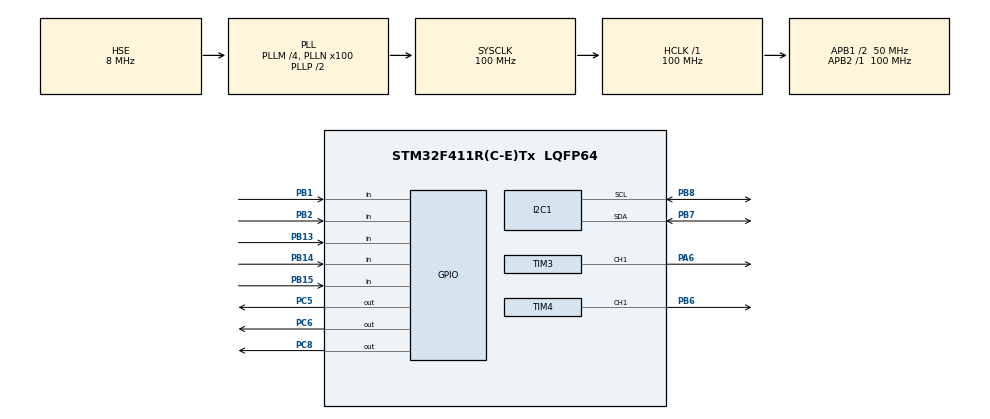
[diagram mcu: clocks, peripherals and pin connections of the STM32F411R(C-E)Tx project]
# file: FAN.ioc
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Mcu.Family=STM32F4
Mcu.Name=STM32F411R(C-E)Tx
Mcu.Package=LQFP64
NVIC.PriorityGroup=NVIC_PRIORITYGROUP_4
PA13.Mode=Serial_Wire
PA13.Signal=SYS_JTMS-SWDIO
PA14.Mode=Serial_Wire
PA14.Signal=SYS_JTCK-SWCLK
PA6.Signal=S_TIM3_CH1
PB1.Signal=GPIO_Input
PB13.Signal=GPIO_Input
PB14.Signal=GPIO_Input
PB15.Signal=GPIO_Input
PB2.Signal=GPIO_Input
PB6.Signal=S_TIM4_CH1
PB7.Mode=I2C
PB7.Signal=I2C1_SDA
PB8.Mode=I2C
PB8.Signal=I2C1_SCL
PC5.Signal=GPIO_Output
PC6.Signal=GPIO_Output
PC8.Signal=GPIO_Output
PH0\ -\ OSC_IN.Mode=HSE-External-Oscillator
PH0\ -\ OSC_IN.Signal=RCC_OSC_IN
PH1\ -\ OSC_OUT.Mode=HSE-External-Oscillator
PH1\ -\ OSC_OUT.Signal=RCC_OSC_OUT
ProjectManager.HeapSize=0x200
ProjectManager.StackSize=0x400
ProjectManager.TargetToolchain=STM32CubeIDE
RCC.48MHZClocksFreq_Value=50000000
RCC.AHBFreq_Value=100000000
RCC.APB1CLKDivider=RCC_HCLK_DIV2
RCC.APB1Freq_Value=50000000
RCC.APB1TimFreq_Value=100000000
RCC.APB2Freq_Value=100000000
RCC.APB2TimFreq_Value=100000000
RCC.CortexFreq_Value=100000000
RCC.HCLKFreq_Value=100000000
RCC.HSE_VALUE=8000000
RCC.HSI_VALUE=16000000
RCC.LSE_VALUE=32768
RCC.PLLM=4
RCC.PLLN=100
RCC.PLLSourceVirtual=RCC_PLLSOURCE_HSE
RCC.SYSCLKFreq_VALUE=100000000
RCC.SYSCLKSource=RCC_SYSCLKSOURCE_PLLCLK
RCC.VCOOutputFreq_Value=200000000
RTC.Date=27
RTC.Hours=15
RTC.Minutes=55
RTC.Month=RTC_MONTH_SEPTEMBER
RTC.SynchPrediv=249
RTC.WeekDay=RTC_WEEKDAY_WEDNESDAY
RTC.Year=23
SH.S_TIM3_CH1.0=TIM3_CH1,PWM Generation1 CH1
SH.S_TIM4_CH1.0=TIM4_CH1,PWM Generation1 CH1
TIM3.Channel-PWM\ Generation1\ CH1=TIM_CHANNEL_1
TIM3.Period=1000-1
TIM3.Prescaler=1000-1
TIM4.Channel-PWM\ Generation1\ CH1=TIM_CHANNEL_1
TIM4.Period=1000-1
TIM4.Prescaler=2000-1
VP_RTC_VS_RTC_Activate.Mode=RTC_Enabled
VP_RTC_VS_RTC_Calendar.Mode=RTC_Calendar
VP_TIM3_VS_ClockSourceINT.Mode=Internal
VP_TIM4_VS_ClockSourceINT.Mode=Internal
board=custom

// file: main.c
/* USER CODE BEGIN Header */
/**
  ******************************************************************************
  * @file           : main.c
  * @brief          : Main program body
  ******************************************************************************
  * @attention
  *
  * Copyright (c) 2023 STMicroelectronics.
  * All rights reserved.
  *
  * This software is licensed under terms that can be found in the LICENSE file
  * in the root directory of this software component.
  * If no LICENSE file comes with this software, it is provided AS-IS.
  *
  ******************************************************************************
  */
/* USER CODE END Header */
#include "main.h"
#include "i2c.h"
#include "rtc.h"
#include "tim.h"
#include "gpio.h"

/* USER CODE BEGIN Includes */

#include "led.h"
#include "button.h"
#include "delay.h"
#include "I2C_LCD.h"
#include "stdio.h"
#include "time.h"

/* USER CODE END Includes */

/* USER CODE BEGIN PV */

LED speed_led[LED_UNITS]={
    {GPIOC, GPIO_PIN_8},
    {GPIOC, GPIO_PIN_6},
    {GPIOC, GPIO_PIN_5}
};

enum {STOP, WEAK, MID, STRONG};
Button fan_speed[4];
Button rotate_btn;
uint8_t rotate_flag = 0;

uint8_t speed = STOP;

RTC_TimeTypeDef sTime;
RTC_DateTypeDef sDate;

char date[16];
char timer[9];

/* USER CODE END PV */

void SystemClock_Config(void);

/* USER CODE BEGIN 0 */

//void HAL_GPIO_EXTI_Callback(uint16_t GPIO_Pin)
//{
//  if(GPIO_Pin == GPIO_PIN_1)
//  {
//    // ...
//  }
//  else if(GPIO_Pin == GPIO_PIN_15)
//  {
//    // ...
//  }
//  else if(GPIO_Pin == GPIO_PIN_14)
//  {
//    // ...
//  }
//  else if(GPIO_Pin == GPIO_PIN_13)
//  {
//    // ...
//  }
//}

void date_init(uint8_t year, uint8_t month, uint8_t date, uint8_t hour, uint8_t min, uint8_t sec)
{
  sTime.Hours = ((hour/10)<<4)+(hour%10);
  sTime.Minutes = ((min/10)<<4) + (min%10);
  sTime.Seconds = ((sec/10)<<4) + (sec%10);

  HAL_RTC_SetTime(&hrtc, &sTime, RTC_FORMAT_BCD);

  sDate.Year = ((year/10)<<4)+(year%10);
  sDate.Month = ((month/10)<<4)+(month%10);
  sDate.Date = ((date/10)<<4) + (date%10);

  HAL_RTC_SetDate(&hrtc, &sDate, RTC_FORMAT_BCD);
}

void buff_clear(char* buff)
{
  for(int i=0;i<sizeof(buff);i++)
  {
    buff[i] = '\0';
  }
}

void rotate()
{
  if(rotate_flag == 1)
  {
    for(int i=50;i<250;i+=1){
      TIM4->CCR1 = i;
      HAL_Delay(25);
    }
    for(int i=250;i>=50;i-=1){
      TIM4->CCR1 = i;
      HAL_Delay(25);
    }
  }
  else
  {
    TIM4->CCR1 = 0;
  }
}

/* USER CODE END 0 */

int main(void)
{

  /* MCU Configuration--------------------------------------------------------*/

  /* Reset of all peripherals, Initializes the Flash interface and the Systick. */
  HAL_Init();

  /* Configure the system clock */
  SystemClock_Config();

  /* Initialize all configured peripherals */
  MX_GPIO_Init();
  MX_TIM3_Init();
  MX_I2C1_Init();
  MX_TIM4_Init();
  MX_RTC_Init();
  /* USER CODE BEGIN 2 */

  Button_Init(&fan_speed[STOP], GPIOB, GPIO_PIN_1);
  Button_Init(&fan_speed[WEAK], GPIOB, GPIO_PIN_15);
  Button_Init(&fan_speed[MID], GPIOB, GPIO_PIN_14);
  Button_Init(&fan_speed[STRONG], GPIOB, GPIO_PIN_13);
  Button_Init(&rotate_btn, GPIOB, GPIO_PIN_2);

  HAL_TIM_PWM_Start(&htim3, TIM_CHANNEL_1);
  HAL_TIM_PWM_Start(&htim4, TIM_CHANNEL_1);
  TIM3->CCR1 = 0;

  date_init(23,10,4,9,20,0);

  lcd_init();
  sprintf(date,"%02x%02x%02x %02x:%02x:%02x", sDate.Year,sDate.Month,sDate.Date,sTime.Hours,sTime.Minutes,sTime.Seconds);
  lcd_put_cur(0, 0);
  lcd_send_string(date);
  lcd_put_cur(1, 0);
  lcd_send_string("STOP  ");
  lcd_put_cur(1, 8);
  sprintf(timer, "01:00");
  lcd_send_string(timer);

  uint8_t min = sTime.Minutes+1;
  uint8_t sec = sTime.Seconds;

  /* USER CODE END 2 */

  /* Infinite loop */
  while (1)
  {

    /* USER CODE BEGIN 3 */

    HAL_RTC_GetTime(&hrtc, &sTime, RTC_FORMAT_BCD);
    HAL_RTC_GetDate(&hrtc, &sDate, RTC_FORMAT_BCD);

    buff_clear(date);
    sprintf(date,"%02x%02x%02x %02x:%02x:%02x", sDate.Year,sDate.Month,sDate.Date,sTime.Hours,sTime.Minutes,sTime.Seconds);
    lcd_put_cur(0, 0);
    lcd_send_string(date);

    if(Button_getState(&fan_speed[STOP]) == ACT_PUSH)
    {
      led_off(speed_led);
      speed = STOP;
      lcd_put_cur(1, 0);
      lcd_send_string("STOP  ");
    }
    if(Button_getState(&fan_speed[WEAK]) == ACT_PUSH)
    {
      led_off(speed_led);
      led_on(speed_led, WEAK);
      speed = WEAK;
      lcd_put_cur(1, 0);
      lcd_send_string("WEAK  ");
    }
    if(Button_getState(&fan_speed[MID]) == ACT_PUSH)
    {
      led_off(speed_led);
      led_on(speed_led, MID);
      speed = MID;
      lcd_put_cur(1, 0);
      lcd_send_string("MIDDLE");
    }
    if(Button_getState(&fan_speed[STRONG]) == ACT_PUSH)
    {
      led_off(speed_led);
      led_on(speed_led, STRONG);
      speed = STRONG;
      lcd_put_cur(1, 0);
      lcd_send_string("STRONG");
    }
    if(Button_getState(&rotate_btn) == ACT_PUSH)
    {
      (rotate_flag++) %=2;
      rotate();
    }

    /* Timer Implementation */

//    TIM3->CCR1 = (float)TIM3->ARR * (0.333 * speed);
//
//    buff_clear(timer);
//    uint8_t diff = sec - sTime.Seconds;
//    if((min == sTime.Minutes) &&(sec==sTime.Seconds))
//    {
//      speed = STOP;
//      lcd_put_cur(1, 0);
//      lcd_send_string("STOP  ");
//      lcd_put_cur(1, 8);
//      lcd_send_string("01:00");
//    }
//    else
//    {
//      if(diff == 0)
//      {
//        sprintf(timer,"01:00");
//      }
//      else
//      {
//        sprintf(timer,"00:%02d",60+diff);
//      }
//      lcd_put_cur(1, 8);
//      lcd_send_string(timer);
//    }
//  }

    /* USER CODE END 3 */
}

void SystemClock_Config(void)
{
  RCC_OscInitTypeDef RCC_OscInitStruct = {0};
  RCC_ClkInitTypeDef RCC_ClkInitStruct = {0};

  /** Configure the main internal regulator output voltage
  */
  __HAL_RCC_PWR_CLK_ENABLE();
  __HAL_PWR_VOLTAGESCALING_CONFIG(PWR_REGULATOR_VOLTAGE_SCALE1);

  /** Initializes the RCC Oscillators according to the specified parameters
  * in the RCC_OscInitTypeDef structure.
  */
  RCC_OscInitStruct.OscillatorType = RCC_OSCILLATORTYPE_LSI|RCC_OSCILLATORTYPE_HSE;
  RCC_OscInitStruct.HSEState = RCC_HSE_ON;
  RCC_OscInitStruct.LSIState = RCC_LSI_ON;
  RCC_OscInitStruct.PLL.PLLState = RCC_PLL_ON;
  RCC_OscInitStruct.PLL.PLLSource = RCC_PLLSOURCE_HSE;
  RCC_OscInitStruct.PLL.PLLM = 4;
  RCC_OscInitStruct.PLL.PLLN = 100;
  RCC_OscInitStruct.PLL.PLLP = RCC_PLLP_DIV2;
  RCC_OscInitStruct.PLL.PLLQ = 4;
  if (HAL_RCC_OscConfig(&RCC_OscInitStruct) != HAL_OK)
  {
    Error_Handler();
  }

  /** Initializes the CPU, AHB and APB buses clocks
  */
  RCC_ClkInitStruct.ClockType = RCC_CLOCKTYPE_HCLK|RCC_CLOCKTYPE_SYSCLK
                              |RCC_CLOCKTYPE_PCLK1|RCC_CLOCKTYPE_PCLK2;
  RCC_ClkInitStruct.SYSCLKSource = RCC_SYSCLKSOURCE_PLLCLK;
  RCC_ClkInitStruct.AHBCLKDivider = RCC_SYSCLK_DIV1;
  RCC_ClkInitStruct.APB1CLKDivider = RCC_HCLK_DIV2;
  RCC_ClkInitStruct.APB2CLKDivider = RCC_HCLK_DIV1;

  if (HAL_RCC_ClockConfig(&RCC_ClkInitStruct, FLASH_LATENCY_3) != HAL_OK)
  {
    Error_Handler();
  }
}

void Error_Handler(void)
{
  __disable_irq();
  while (1)
  {
  }
}
